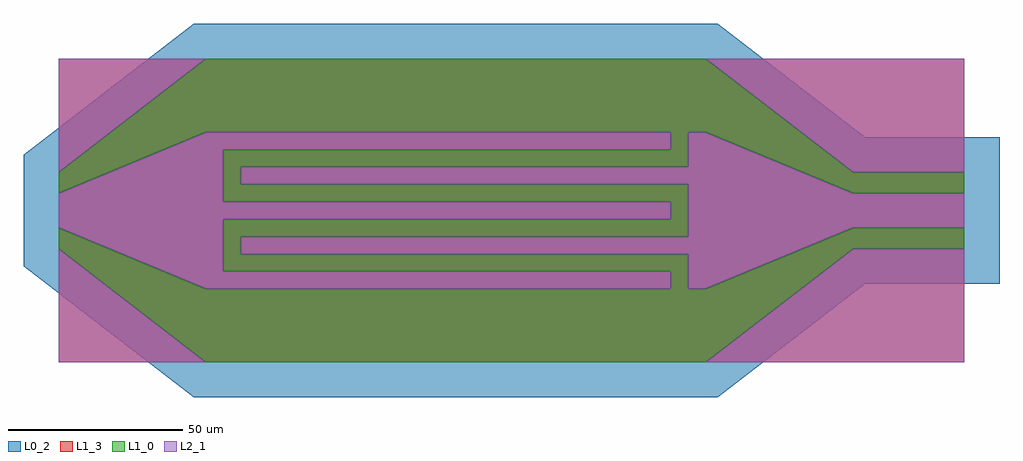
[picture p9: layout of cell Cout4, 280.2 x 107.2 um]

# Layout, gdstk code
import gdstk
lib = gdstk.Library(unit=1e-6, precision=1e-09)
def R(c, l, rs):  # rectangles x0, y0, x1, y1
    for r in rs: c.add(gdstk.rectangle(r[:2], r[2:], *l))
def P(c, l, *ps):  # polygons
    for p in ps: c.add(gdstk.Polygon(p, *l))
L0_2 = (0, 2)
L1_0 = (1, 0)
L1_3 = (1, 3)
L2_1 = (2, 1)

cout4 = lib.new_cell('Cout4')
P(cout4, L0_2, [(-91.198,-53.6),(-140.1,-15.972),(-140.1,15.972),(-91.198,53.6),(59.264,53.6),(101.502,21.1),(140.1,21.1),(140.1,-21.1),(101.502,-21.1),(59.264,-53.6)])
P(cout4, L1_0, [(-87.762,-43.5),(-130,-11),(-130,-5),(-87.717,-22.5),(45.783,-22.5),(45.783,-17.5),(-82.717,-17.5),(-82.717,-2.5),(45.783,-2.5),(45.783,2.5),(-82.717,2.5),(-82.717,17.5),(45.783,17.5),(45.783,22.5),(-87.717,22.5),(-130,5),(-130,11),(-87.762,43.5),(55.828,43.5),(98.066,11),(130,11),(130,5),(98.066,5),(55.783,22.5),(50.783,22.5),(50.783,12.5),(-77.717,12.5),(-77.717,7.5),(50.783,7.5),(50.783,-7.5),(-77.717,-7.5),(-77.717,-12.5),(50.783,-12.5),(50.783,-22.5),(55.783,-22.5),(98.066,-5),(130,-5),(130,-11),(98.066,-11),(55.828,-43.5)])
R(cout4, L1_3, [(-130,-43.5,130,43.5)])
P(cout4, L2_1, [(-130,11),(-130,43.5),(-87.762,43.5)],
  [(-130,-43.5),(-130,-11),(-87.762,-43.5)],
  [(-87.717,-22.5),(-130,-5),(-130,5),(-87.717,22.5),(45.783,22.5),(45.783,17.5),(-82.717,17.5),(-82.717,2.5),(45.783,2.5),(45.783,-2.5),(-82.717,-2.5),(-82.717,-17.5),(45.783,-17.5),(45.783,-22.5)],
  [(50.783,-22.5),(50.783,-12.5),(-77.717,-12.5),(-77.717,-7.5),(50.783,-7.5),(50.783,7.5),(-77.717,7.5),(-77.717,12.5),(50.783,12.5),(50.783,22.5),(55.783,22.5),(98.066,5),(130,5),(130,-5),(98.066,-5),(55.783,-22.5)],
  [(55.828,-43.5),(98.066,-11),(130,-11),(130,-43.5)],
  [(98.066,11),(55.828,43.5),(130,43.5),(130,11)])

lib.write_gds('Cout4.gds')
